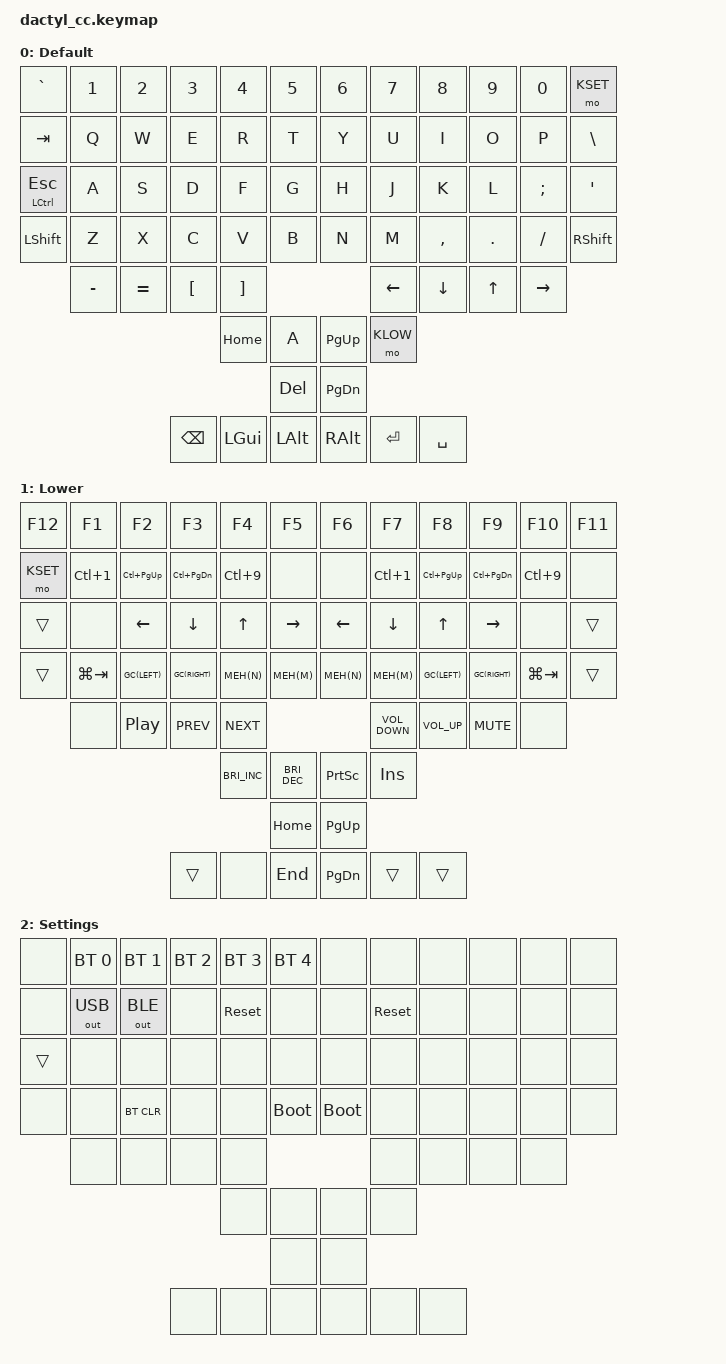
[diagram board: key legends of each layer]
#include <behaviors.dtsi>
#include <dt-bindings/zmk/keys.h>
#include <dt-bindings/zmk/bt.h>
#include <dt-bindings/zmk/outputs.h>

#define KDEF         0 // Default layer
#define KLOW         1 // Lower layer
#define KSET         2 // Lower layer

// Modifiers
#define HYPER(key)   LS(LC(LA(LG(key)))) // LSHFT+LCTRL+LALT+LGUI
#define MEH(key)     LS(LC(LA(key))) // LSHFT+LCTRL+LALT
#define GC(key)      LG(LC(key)) // LGUI+LCTRL

// Shortcuts
#define SP           SPACE
#define ALTGR        RALT

#define BRI_DN       C_BRIGHTNESS_DEC
#define BRI_UP       C_BRIGHTNESS_INC
#define VOL_UP       C_VOLUME_UP
#define VOL_DN       C_VOLUME_DOWN


&kscan0 {
       debounce-press-ms = <30>;
       debounce-release-ms = <30>;
};

/ {
       keymap {
              compatible = "zmk,keymap";

              default_layer {
                     display-name = "Default";
                     bindings = <
&kp GRAVE     &kp N1        &kp N2        &kp N3        &kp N4        &kp N5        &kp N6        &kp N7        &kp N8        &kp N9        &kp N0        &mo KSET
&kp TAB       &kp Q         &kp W         &kp E         &kp R         &kp T         &kp Y         &kp U         &kp I         &kp O         &kp P         &kp BSLH
&mt LCTRL ESC &kp A         &kp S         &kp D         &kp F         &kp G         &kp H         &kp J         &kp K         &kp L         &kp SEMI      &kp SQT
&kp LSHFT     &kp Z         &kp X         &kp C         &kp V         &kp B         &kp N         &kp M         &kp COMMA     &kp DOT       &kp FSLH      &kp RSHFT
              &kp MINUS     &kp EQUAL     &kp LBKT      &kp RBKT                                  &kp LEFT      &kp DOWN      &kp UP        &kp RIGHT
                                                        &kp HOME      &kp A         &kp PG_UP     &mo KLOW
                                                                      &kp DEL       &kp PG_DN
                                          &kp BSPC      &kp LGUI      &kp LALT      &kp RALT      &kp RET       &kp SP
                     >;
              };

              lower_layer {
                     display-name = "Lower";
                     bindings = <
&kp F12       &kp F1        &kp F2        &kp F3        &kp F4        &kp F5        &kp F6        &kp F7        &kp F8        &kp F9        &kp F10       &kp F11
&mo KSET      &kp LC(1)     &kp LC(PG_UP) &kp LC(PG_DN) &kp LC(9)     &none         &none         &kp LC(1)     &kp LC(PG_UP) &kp LC(PG_DN) &kp LC(9)     &none
&trans        &none         &kp LEFT      &kp DOWN      &kp UP        &kp RIGHT     &kp LEFT      &kp DOWN      &kp UP        &kp RIGHT     &none         &trans
&trans        &kp LG(TAB)   &kp GC(LEFT)  &kp GC(RIGHT) &kp MEH(N)    &kp MEH(M)    &kp MEH(N)    &kp MEH(M)    &kp GC(LEFT)  &kp GC(RIGHT) &kp LG(TAB)   &trans
              &none         &kp C_PP      &kp C_PREV    &kp C_NEXT                                &kp VOL_DN    &kp VOL_UP    &kp C_MUTE    &none
                                                        &kp BRI_UP    &kp BRI_DN    &kp PSCRN     &kp INS
                                                                      &kp HOME      &kp PG_UP
                                          &trans        &none         &kp END       &kp PG_DN     &trans        &trans
                     >;
              };

              settings_layer {
                     display-name = "Settings";
                     bindings = <
&none         &bt BT_SEL 0  &bt BT_SEL 1  &bt BT_SEL 2  &bt BT_SEL 3  &bt BT_SEL 4  &none         &none         &none         &none         &none         &none
&none         &out OUT_USB  &out OUT_BLE  &none         &sys_reset    &none         &none         &sys_reset    &none         &none         &none         &none
&trans        &none         &none         &none         &none         &none         &none         &none         &none         &none         &none         &none
&none         &none         &bt BT_CLR    &none         &none         &bootloader   &bootloader   &none         &none         &none         &none         &none
              &none         &none         &none         &none                                     &none         &none         &none         &none
                                                        &none         &none         &none         &none
                                                                      &none         &none
                                          &none         &none         &none         &none         &none         &none
                     >;
              };

       };
};
